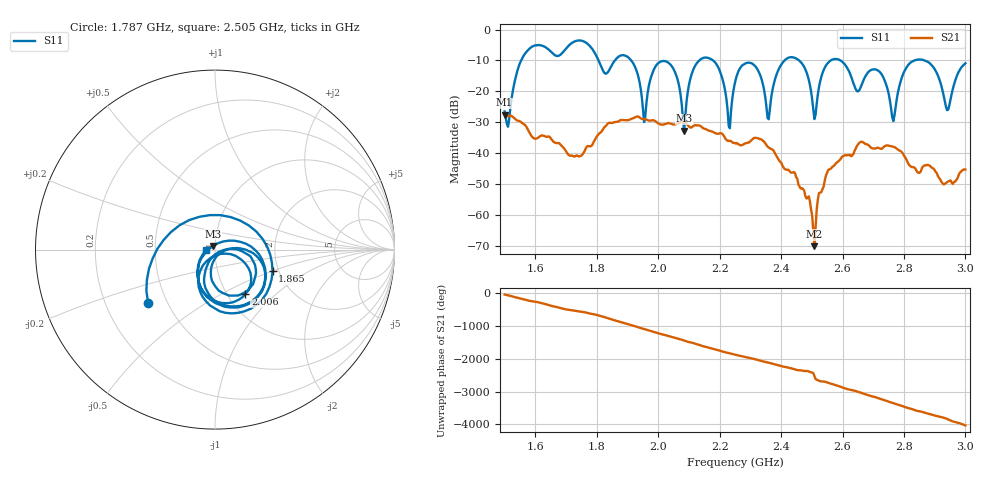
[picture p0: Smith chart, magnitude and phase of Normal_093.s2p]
# HZ S RI R 50
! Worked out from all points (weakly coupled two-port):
!   404 points, 1.5 GHz to 3 GHz, reference 50 ohm
!   highest |S21| = -27.49 dB at 1.5 GHz (marker M1); lowest = -70.0 dB at 2.509 GHz (marker M2)
!   lowest |S11| = -32.7 dB at 2.084 GHz (marker M3), VSWR 1.05, Z = 48.8 + j1.98 ohm
!   |S11| at or under -10 dB: 1.912 GHz to 2.134 GHz (221.4 MHz wide, 10.9 % of centre); 2.179 GHz to 2.411 GHz (232.4 MHz wide, 10.1 % of centre); 2.593 GHz to 2.834 GHz (240.6 MHz wide, 8.87 % of centre) (the widest 3 of 7)
!   S12 and S22 are empty: the file has one direction only
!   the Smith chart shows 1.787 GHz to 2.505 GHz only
!   S11 on the Smith chart (normalised r, x): 1.787 GHz: 0.39, -0.30; 1.865 GHz: 1.85, -0.50; 2.006 GHz: 1.21, -0.66; 2.505 GHz: 0.90, -0.00
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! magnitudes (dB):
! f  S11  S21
! 1.5 GHz  -26.5  -27.5
! 1.578 GHz  -6.5  -32.9
! 1.753 GHz  -3.7  -40.4
! 1.787 GHz  -6.4  -37.1
! 1.865 GHz  -9.3  -29.8
! 1.954 GHz  -29.9  -29.0
! 2.002 GHz  -10.7  -30.4
! 2.006 GHz  -10.4  -30.6
! 2.084 GHz  -32.7  -29.9
! 2.14 GHz  -9.5  -31.4
! 2.23 GHz  -31.1  -36.0
! 2.252 GHz  -16.3  -36.8
! 2.36 GHz  -29.0  -38.2
! 2.442 GHz  -9.1  -46.1
! 2.501 GHz  -22.6  -60.2
! 2.505 GHz  -25.9  -65.4
! 2.509 GHz  -28.9  -70.0
! 2.572 GHz  -9.6  -44.0
! 2.751 GHz  -20.9  -37.5
! 2.859 GHz  -9.7  -44.7
! 2.944 GHz  -25.9  -49.1
! 3 GHz  -10.9  -45.3
